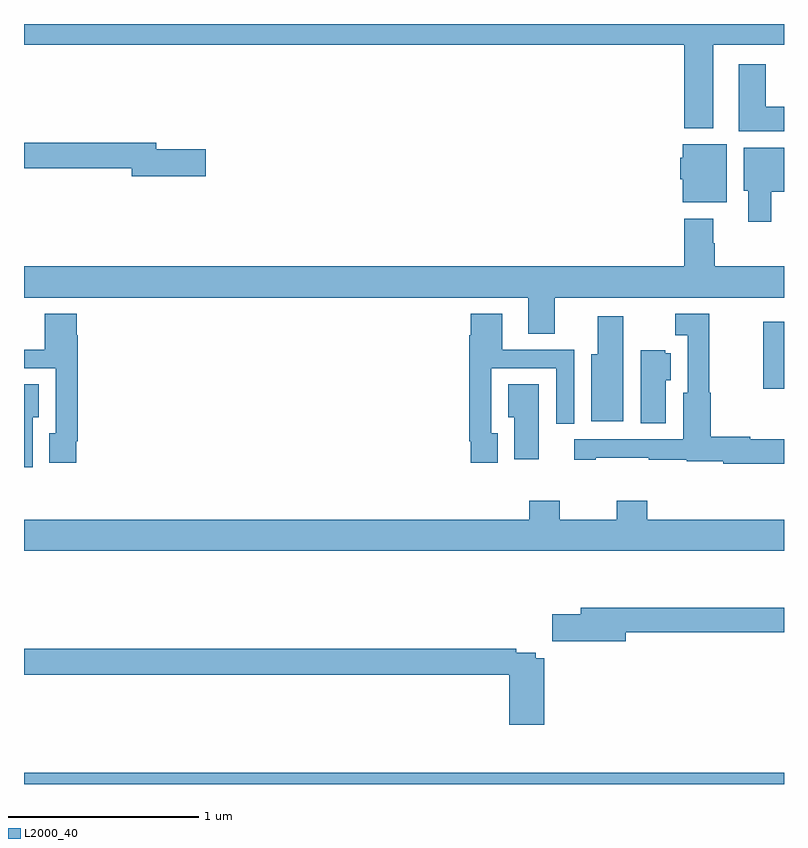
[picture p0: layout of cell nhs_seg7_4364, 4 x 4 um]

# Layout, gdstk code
import gdstk
lib = gdstk.Library(unit=1e-6, precision=1e-09)
def R(c, l, rs):  # rectangles x0, y0, x1, y1
    for r in rs: c.add(gdstk.rectangle(r[:2], r[2:], *l))
def P(c, l, *ps):  # polygons
    for p in ps: c.add(gdstk.Polygon(p, *l))
L2000_40 = (2000, 40)

nhs_seg7_4364 = lib.new_cell('nhs_seg7_4364')
R(nhs_seg7_4364, L2000_40, [(385,1054,389,1054.06), (388.891,1056.08,389,1056.433)])
P(nhs_seg7_4364, L2000_40, [(388.627,1057.892),(389,1057.892),(389,1058),(385,1058),(385,1057.892),(388.475,1057.892),(388.475,1057.451),(388.627,1057.451)],
  [(389,1057.564),(388.903,1057.564),(388.903,1057.789),(388.763,1057.789),(388.763,1057.436),(389,1057.436)],
  [(385.957,1057.34),(385.696,1057.34),(385.696,1057.376),(385,1057.376),(385,1057.24),(385.568,1057.24),(385.568,1057.198),(385.957,1057.198)],
  [(388.699,1057.366),(388.466,1057.366),(388.466,1057.296),(388.454,1057.296),(388.454,1057.182),(388.466,1057.182),(388.466,1057.061),(388.699,1057.061)],
  [(388.933,1057.118),(389,1057.118),(389,1057.348),(388.787,1057.348),(388.787,1057.122),(388.811,1057.122),(388.811,1056.96),(388.933,1056.96)],
  [(387.793,1056.56),(389,1056.56),(389,1056.724),(388.635,1056.724),(388.635,1056.845),(388.627,1056.845),(388.627,1056.976),(388.475,1056.976),(388.475,1056.724),(385,1056.724),(385,1056.56),(387.653,1056.56),(387.653,1056.37),(387.793,1056.37)],
  [(385.276,1055.803),(385.283,1055.803),(385.283,1056.362),(385.277,1056.362),(385.277,1056.475),(385.109,1056.475),(385.109,1056.285),(385,1056.285),(385,1056.189),(385.167,1056.189),(385.167,1055.847),(385.133,1055.847),(385.133,1055.691),(385.276,1055.691)],
  [(389,1055.815),(388.823,1055.815),(388.823,1055.828),(388.615,1055.828),(388.615,1056.06),(388.607,1056.06),(388.607,1056.475),(388.428,1056.475),(388.428,1056.362),(388.493,1056.362),(388.493,1056.06),(388.469,1056.06),(388.469,1055.814),(387.897,1055.814),(387.897,1055.706),(388.009,1055.706),(388.009,1055.716),(388.288,1055.716),(388.288,1055.706),(388.488,1055.706),(388.488,1055.698),(388.68,1055.698),(388.68,1055.686),(389,1055.686)],
  [(387.493,1055.847),(387.459,1055.847),(387.459,1056.189),(387.801,1056.189),(387.801,1055.895),(387.897,1055.895),(387.897,1056.285),(387.517,1056.285),(387.517,1056.475),(387.35,1056.475),(387.35,1056.362),(387.343,1056.362),(387.343,1055.803),(387.351,1055.803),(387.351,1055.691),(387.493,1055.691)],
  [(388.153,1056.463),(388.019,1056.463),(388.019,1056.262),(387.986,1056.262),(387.986,1055.91),(388.153,1055.91)],
  [(388.378,1056.126),(388.405,1056.126),(388.405,1056.266),(388.374,1056.266),(388.374,1056.283),(388.247,1056.283),(388.247,1055.899),(388.378,1055.899)],
  [(385.045,1055.93),(385.078,1055.93),(385.078,1056.104),(385,1056.104),(385,1055.667),(385.045,1055.667)],
  [(387.709,1056.104),(387.548,1056.104),(387.548,1055.93),(387.581,1055.93),(387.581,1055.709),(387.709,1055.709)],
  [(389,1055.392),(388.28,1055.392),(388.28,1055.491),(388.12,1055.491),(388.12,1055.392),(387.819,1055.392),(387.819,1055.491),(387.659,1055.491),(387.659,1055.392),(385,1055.392),(385,1055.228),(389,1055.228)],
  [(388.168,1054.798),(389,1054.798),(389,1054.927),(387.929,1054.927),(387.929,1054.893),(387.78,1054.893),(387.78,1054.751),(388.168,1054.751)],
  [(387.737,1054.663),(387.694,1054.663),(387.694,1054.692),(387.59,1054.692),(387.59,1054.712),(385,1054.712),(385,1054.576),(387.554,1054.576),(387.554,1054.311),(387.737,1054.311)])

lib.write_gds('nhs_seg7_4364.gds')
